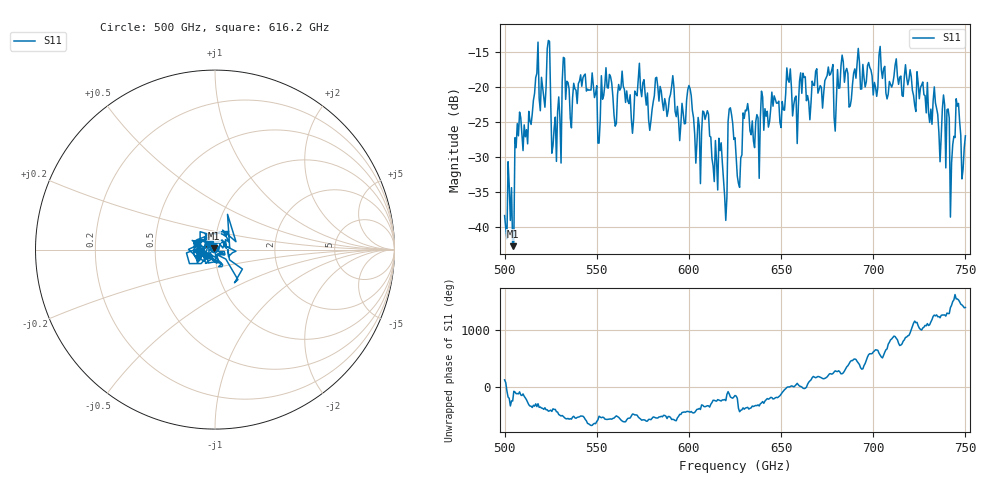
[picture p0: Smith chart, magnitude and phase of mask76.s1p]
!Created with skrf (http://scikit-rf.org).
# GHz S MA R 50.0
!freq magS11 angS11
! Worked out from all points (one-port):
!   401 points, 500 GHz to 750 GHz, reference 50 ohm
!   lowest |S11| = -42.7 dB at 504.4 GHz (marker M1), VSWR 1.01, Z = 49.6 + j0.641 ohm
!   |S11| at or under -10 dB: start of sweep to end of sweep
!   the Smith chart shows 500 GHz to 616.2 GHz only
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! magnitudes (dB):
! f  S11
! 500 GHz  -38.3
! 504.4 GHz  -42.7
! 506.9 GHz  -25.2
! 511.2 GHz  -27.1
! 516.9 GHz  -18.7
! 523.8 GHz  -13.4
! 526.9 GHz  -25.9
! 531.2 GHz  -19.2
! 542.5 GHz  -18.7
! 550.6 GHz  -28.0
! 562.5 GHz  -20.5
! 593.8 GHz  -22.8
! 600 GHz  -19.8
! 605 GHz  -24.3
! 609.4 GHz  -24.0
! 619.4 GHz  -35.5
! 622.5 GHz  -23.0
! 625 GHz  -27.2
! 627.5 GHz  -34.3
! 630.6 GHz  -23.3
! 636.9 GHz  -23.9
! 656.2 GHz  -24.1
! 687.5 GHz  -22.7
! 718.8 GHz  -19.7
! 739.4 GHz  -31.5
! 743.1 GHz  -28.2
! 745.6 GHz  -22.7
! 750 GHz  -27.0
